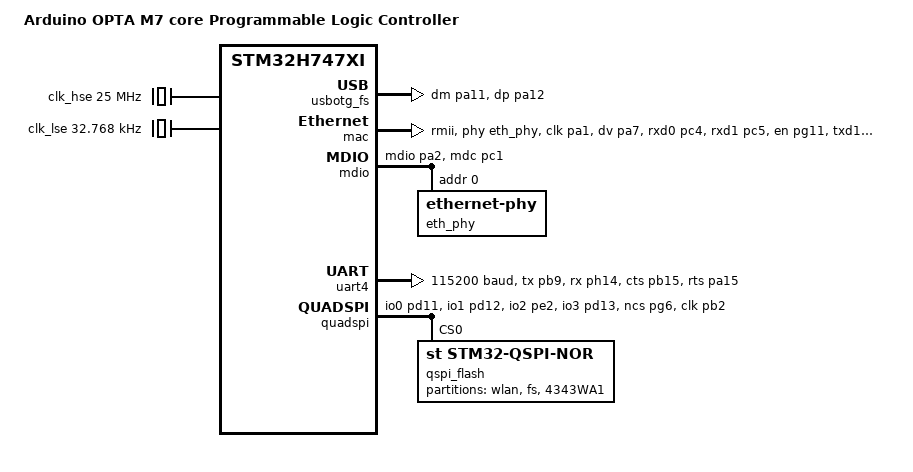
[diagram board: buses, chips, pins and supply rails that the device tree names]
/*
 * Copyright (c) 2022 Benjamin Björnsson <benjamin.bjornsson@gmail.com>.
 * Copyright (c) 2024 DNDG srl
 *
 * SPDX-License-Identifier: Apache-2.0
 */

/dts-v1/;
#include <st/h7/stm32h747Xi_m7.dtsi>
#include <st/h7/stm32h747xihx-pinctrl.dtsi>
#include <zephyr/dt-bindings/input/input-event-codes.h>
#include "arduino_opta-common.dtsi"

/ {
	model = "Arduino OPTA M7 core Programmable Logic Controller";
	compatible = "arduino,opta-m7";

	chosen {
		zephyr,sram = &sram0;
		zephyr,flash = &flash0;
		zephyr,code-partition = &slot0_partition;
		zephyr,bt-hci = &bt_hci_uart;
	};
};

zephyr_udc0: &usbotg_fs {
	pinctrl-0 = <&usb_otg_fs_dm_pa11 &usb_otg_fs_dp_pa12>;
	pinctrl-names = "default";
	status = "okay";
};

#include <../boards/common/usb/cdc_acm_serial.dtsi>

&clk_hse {
	clock-frequency = <DT_FREQ_M(25)>;
	hse-bypass;
	status = "okay";
};

&clk_lse {
	clock-frequency = <32768>;
	lse-bypass;
	status = "okay";
};

&clk_hsi {
	hsi-div = <1>;
	status = "okay";
};

&clk_hsi48 {
	/* HSI48 required for USB */
	status = "okay";
};

&pll {
	div-m = <5>;
	mul-n = <160>;
	div-p = <2>;
	div-r = <2>;
	div-q = <10>;
	clocks = <&clk_hse>;
	status = "okay";
};

&rcc {
	clocks = <&pll>;
	clock-frequency = <DT_FREQ_M(400)>;
};

&flash0 {
	partitions {
		compatible = "fixed-partitions";
		#address-cells = <1>;
		#size-cells = <1>;

		boot_partition: partition@0 {
			label = "mcu-boot";
			reg = <0x00000000 DT_SIZE_K(256)>;
			read-only;
		};

		slot0_partition: partition@40000 {
			label = "image-0";
			reg = <0x00040000 DT_SIZE_K(768)>;
		};
	};
};

/* Assign USB to M7 by default */
&usbotg_fs {
	status = "okay";
};

&usbotg_hs {
	status = "disabled";
};

/* Assign ethernet to M7 by default */
&mac {
	pinctrl-0 = <&eth_ref_clk_pa1
		     &eth_crs_dv_pa7
		     &eth_rxd0_pc4
		     &eth_rxd1_pc5
		     &eth_tx_en_pg11
		     &eth_txd1_pg12
		     &eth_txd0_pg13>;
	pinctrl-names = "default";
	phy-connection-type = "rmii";
	phy-handle = <&eth_phy>;
	status = "okay";
};

&mdio {
	pinctrl-0 = <&eth_mdio_pa2 &eth_mdc_pc1>;
	pinctrl-names = "default";
	status = "okay";

	eth_phy: ethernet-phy@0 {
		compatible = "ethernet-phy";
		reg = <0x00>;
	};
};

/* Assign Bluetooth to M7 by default */
&uart4 {
	pinctrl-0 = <&uart4_tx_pb9
		     &uart4_rx_ph14
		     &uart4_cts_pb15
		     &uart4_rts_pa15>;
	pinctrl-names = "default";
	current-speed = <115200>;
	hw-flow-control;
	status = "okay";

	bt_hci_uart: bt_hci_uart {
		compatible = "zephyr,bt-hci-uart";
		status = "okay";

		murata-1dx {
			compatible = "infineon,cyw43xxx-bt-hci";
			bt-reg-on-gpios = <&gpioj 12 GPIO_ACTIVE_HIGH>;
			bt-host-wake-gpios = <&gpioj 13 GPIO_ACTIVE_HIGH>;
			bt-dev-wake-gpios = <&gpioj 14 GPIO_ACTIVE_HIGH>;
		};
	};
};

/* Assign external flash to M7 by default */
&quadspi {
	pinctrl-0 = <&quadspi_bk1_io0_pd11
		     &quadspi_bk1_io1_pd12
		     &quadspi_bk1_io2_pe2
		     &quadspi_bk1_io3_pd13
		     &quadspi_bk1_ncs_pg6
		     &quadspi_clk_pb2>;
	pinctrl-names = "default";
	status = "okay";

	qspi_flash: qspi-nor-flash@0 {
		compatible = "st,stm32-qspi-nor";
		reg = <0>;
		size = <DT_SIZE_M(128)>; /* 128 MBits */
		qspi-max-frequency = <80000000>;
		jedec-id = [01 1f 89];
		spi-bus-width = <2>;
		status = "okay";

		/* The following partitions are valid only if the Opta external flash
		 * has never been reformatted or repartitioned. Note the offset of the
		 * first partition, due to the presence of the MBR.
		 */
		partitions {
			compatible = "fixed-partitions";
			#address-cells = <1>;
			#size-cells = <1>;

			/* WiFi firmware and TLS certificates: 1MB - 4K for MBR using LBA */
			wlan_partition: partition@1000 {
				label = "wlan";
				reg = <0x001000 DT_SIZE_K(1020)>;
			};

			/* Arduino OTA partition: 13MB */
			fs_partition: partition@100000 {
				label = "fs";
				reg = <0x100000 DT_SIZE_M(13)>;
			};

			/* The final 2MB is used to keep a memory-mapped copy of the WiFi
			 * firmware. The address of the firmware blob is 0xF80000 and the
			 * size of the partition in the MBR is 0 but, given that we can't
			 * specify a zero size in `reg` we just give the "correct" one.
			 */
			wifi_partition: partition@e00000 {
				label = "4343WA1";
				reg = <0xE00000 DT_SIZE_M(2)>;
			};
		};
	};
};
